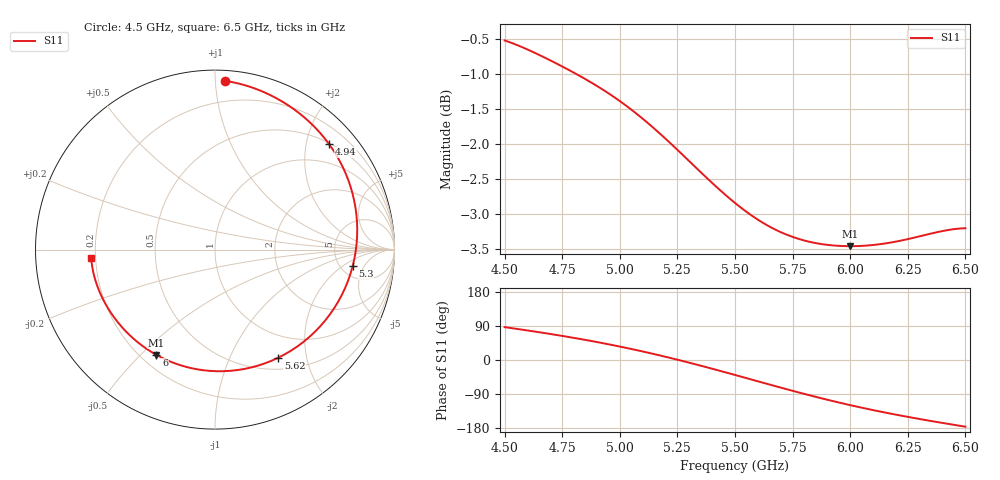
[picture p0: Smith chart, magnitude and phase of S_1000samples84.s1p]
! TOUCHSTONE file generated by CST MICROWAVE STUDIO
! Date and time: Wed Oct 26 22:43:50 2022
! Project name: L.cst
! Parameters = {Di=1.27; Epsilon_r=1.56; InnerDiameter=1.27; Length=2; Lf=10; Lg=60; OuterConductorThickness=0.2921; OuterDiameter=3.6; Wf=3; Wp=41.2; de=1.5; df=6.8; g=0.8; gx=4.79462; gy=2.19595; h=2.34; hf=1.524; px=12.9577; py=9.72649; w=9.7; wx=8.16312; wy=7.53053}
! Header version: 2018
! Port assignment regex: !\s*Touchstone port\s*([0-9]+)\s*=\s*(CST MWS port|CST DS port)\s*([0-9]+|Zmin|Zmax)\s*\(\"(.*)\"\)(\s*mode\s*([0-9]+))?.*
! Touchstone port assignment:
! Touchstone port 1 = CST MWS port 1 ("")
# GHz S DB R 50
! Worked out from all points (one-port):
!   101 points, 4.5 GHz to 6.5 GHz, reference 50 ohm
!   lowest |S11| = -3.5 dB at 6 GHz (marker M1), VSWR 5.08, Z = 13.1 - j27.9 ohm
!   |S11| at or under -10 dB: nowhere
!   S11 on the Smith chart (normalised r, x): 4.5 GHz: 0.06, +1.06; 4.94 GHz: 0.52, +2.46; 5.3 GHz: 6.40, -2.95; 5.62 GHz: 0.66, -1.54; 6 GHz: 0.26, -0.56; 6.5 GHz: 0.18, -0.03
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4.5  -0.52 86.7
4.56  -0.59 81.5
4.64  -0.71 74.2
4.76  -0.91 62.6
4.86  -1.09 52.0
4.94  -1.25 42.8
5  -1.39 35.5
5.08  -1.59 25.1
5.14  -1.75 16.9
5.2  -1.93 8.2
5.26  -2.12 -0.7
5.3  -2.24 -6.9
5.34  -2.37 -13.2
5.4  -2.56 -22.9
5.5  -2.84 -39.5
5.56  -3.00 -49.6
5.62  -3.13 -59.7
5.68  -3.23 -69.8
5.76  -3.34 -82.9
5.82  -3.40 -92.5
5.88  -3.43 -101.7
5.94  -3.46 -110.6
6  -3.46 -119.1
6.12  -3.44 -134.8
6.18  -3.41 -142.0
6.26  -3.35 -151.2
6.38  -3.26 -164.0
6.5  -3.21 -175.9
